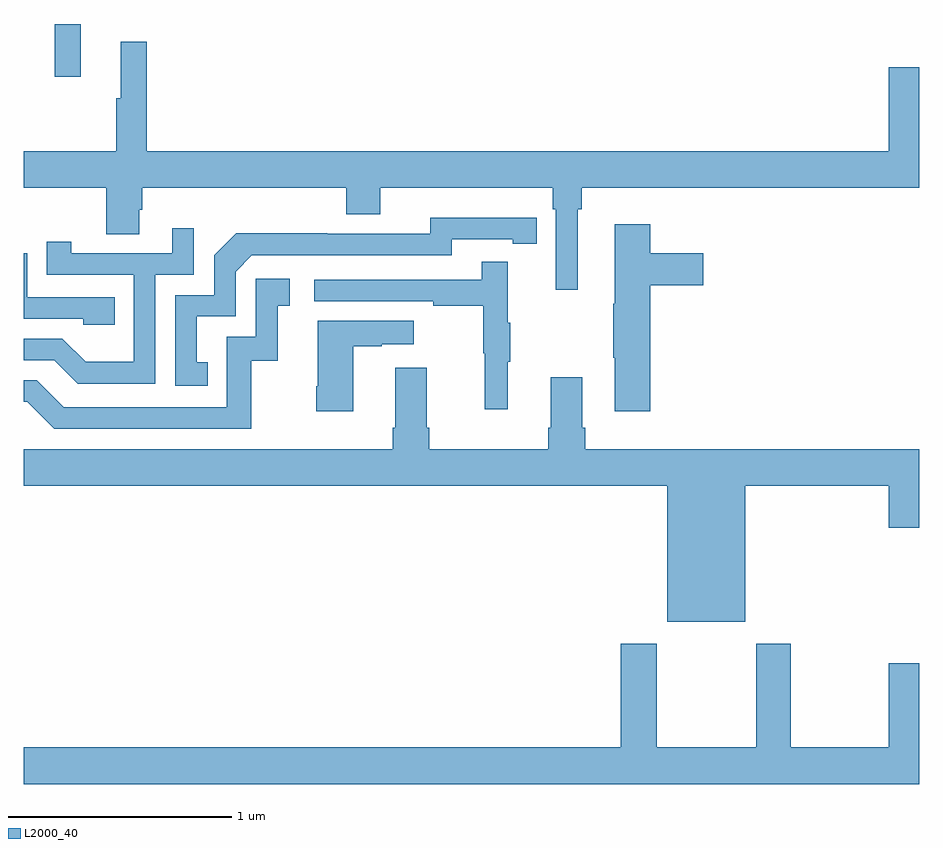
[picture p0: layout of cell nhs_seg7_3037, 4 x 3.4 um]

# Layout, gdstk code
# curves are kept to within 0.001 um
import gdstk
lib = gdstk.Library(unit=1e-6, precision=1e-09)
def R(c, l, rs):  # rectangles x0, y0, x1, y1
    for r in rs: c.add(gdstk.rectangle(r[:2], r[2:], *l))
def P(c, l, *ps):  # polygons
    for p in ps: c.add(gdstk.Polygon(p, *l))
L2000_40 = (2000, 40)

nhs_seg7_3037 = lib.new_cell('nhs_seg7_3037')
R(nhs_seg7_3037, L2000_40, [(305.137,1015.764,305.255,1016)])
P(nhs_seg7_3037, L2000_40, [(307.474,1015.172),(307.493,1015.172),(307.493,1015.268),(309,1015.268),(309,1015.807),(308.864,1015.807),(308.864,1015.432),(305.549,1015.432),(305.549,1015.921),(305.432,1015.921),(305.432,1015.668),(305.413,1015.668),(305.413,1015.432),(305,1015.432),(305,1015.268),(305.368,1015.268),(305.368,1015.06),(305.515,1015.06),(305.515,1015.17),(305.528,1015.17),(305.528,1015.268),(306.44,1015.268),(306.44,1015.151),(306.592,1015.151),(306.592,1015.268),(307.364,1015.268),(307.364,1015.172),(307.377,1015.172),(307.377,1014.813),(307.474,1014.813)],
  [(305.822,1014.489),(305.773,1014.489),(305.773,1014.693),(305.946,1014.693),(305.946,1014.894),(306.018,1014.966),(306.912,1014.966),(306.912,1015.038),(307.184,1015.038),(307.184,1015.018),(307.292,1015.018),(307.292,1015.134),(306.816,1015.135),(306.816,1015.062),(306.356,1015.062),(306.356,1015.064),(305.948,1015.064),(305.85,1014.966),(305.85,1014.789),(305.676,1014.789),(305.676,1014.384),(305.822,1014.384)],
  [(307.799,1014.833),(308.035,1014.833),(308.035,1014.975),(307.799,1014.975),(307.799,1015.105),(307.64,1015.105),(307.64,1014.749),(307.633,1014.749),(307.633,1014.508),(307.64,1014.508),(307.64,1014.27),(307.799,1014.27)],
  [(305.586,1014.879),(305.76,1014.879),(305.76,1015.087),(305.663,1015.087),(305.663,1014.975),(305.212,1014.975),(305.212,1015.027),(305.101,1015.027),(305.101,1014.879),(305.49,1014.879),(305.49,1014.49),(305.276,1014.49),(305.172,1014.594),(305,1014.594),(305,1014.498),(305.135,1014.498),(305.24,1014.393),(305.586,1014.393)],
  [(305.405,1014.78),(305.016,1014.78),(305.016,1014.975),(305,1014.975),(305,1014.684),(305.265,1014.684),(305.265,1014.657),(305.405,1014.657)],
  [(307.163,1014.491),(307.174,1014.491),(307.174,1014.665),(307.163,1014.665),(307.163,1014.937),(307.045,1014.937),(307.045,1014.858),(306.297,1014.858),(306.297,1014.762),(306.829,1014.762),(306.829,1014.742),(307.053,1014.742),(307.053,1014.528),(307.06,1014.528),(307.06,1014.279),(307.163,1014.279)],
  [(306.016,1014.495),(306.134,1014.495),(306.134,1014.741),(306.187,1014.741),(306.187,1014.862),(306.036,1014.862),(306.036,1014.603),(305.907,1014.603),(305.907,1014.288),(305.178,1014.288),(305.058,1014.408),(305,1014.408),(305,1014.312),(305.016,1014.312),(305.136,1014.192),(306.016,1014.192)],
  [(306.472,1014.559),(306.599,1014.559),(306.599,1014.569),(306.742,1014.569),(306.742,1014.673),(306.314,1014.673),(306.314,1014.382),(306.307,1014.382),(306.307,1014.27),(306.472,1014.27)],
  [(308.224,1013.936),(308.864,1013.936),(308.864,1013.748),(309,1013.748),(309,1014.1),(307.508,1014.1),(307.508,1014.196),(307.495,1014.196),(307.495,1014.421),(307.355,1014.421),(307.355,1014.196),(307.343,1014.196),(307.343,1014.1),(306.812,1014.1),(306.812,1014.196),(306.799,1014.196),(306.799,1014.463),(306.659,1014.463),(306.659,1014.196),(306.647,1014.196),(306.647,1014.1),(305,1014.1),(305,1013.936),(307.874,1013.936),(307.874,1013.33),(308.224,1013.33)],
  [(309,1013.143),(308.864,1013.143),(308.864,1012.768),(308.427,1012.768),(308.427,1013.23),(308.272,1013.23),(308.272,1012.768),(307.827,1012.768),(307.827,1013.23),(307.667,1013.23),(307.667,1012.768),(305,1012.768),(305,1012.604),(309,1012.604)])

lib.write_gds('nhs_seg7_3037.gds')
